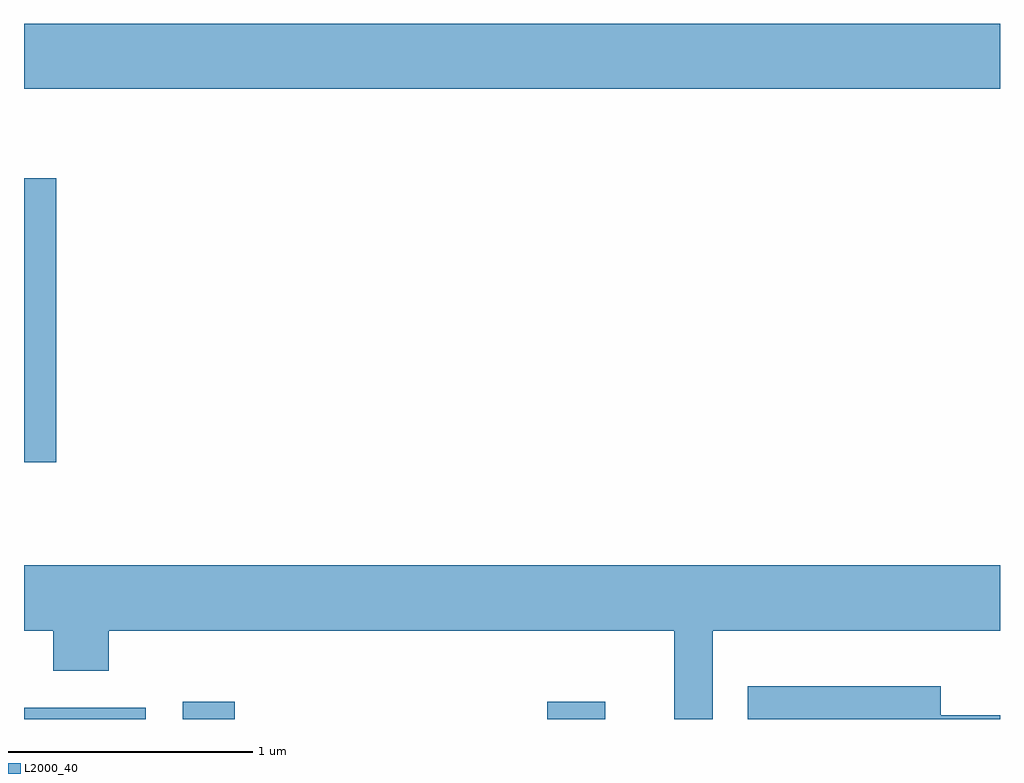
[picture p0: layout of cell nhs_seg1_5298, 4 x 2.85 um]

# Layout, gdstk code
import gdstk
lib = gdstk.Library(unit=1e-6, precision=1e-09)
def R(c, l, rs):  # rectangles x0, y0, x1, y1
    for r in rs: c.add(gdstk.rectangle(r[:2], r[2:], *l))
def P(c, l, *ps):  # polygons
    for p in ps: c.add(gdstk.Polygon(p, *l))
L2000_40 = (2000, 40)

nhs_seg1_5298 = lib.new_cell('nhs_seg1_5298')
R(nhs_seg1_5298, L2000_40, [(345.611,843.712,346.109,843.759), (346.261,843.712,346.474,843.784), (347.756,843.712,347.994,843.784), (345.611,844.766,345.744,845.929), (345.611,846.296,349.611,846.564)])
P(nhs_seg1_5298, L2000_40, [(345.611,844.076),(345.731,844.076),(345.731,843.911),(345.959,843.911),(345.959,844.076),(348.276,844.076),(348.276,843.712),(348.434,843.712),(348.434,844.076),(349.611,844.076),(349.611,844.344),(345.611,844.344)],
  [(349.611,843.729),(349.369,843.729),(349.369,843.849),(348.578,843.849),(348.578,843.712),(349.611,843.712)])

lib.write_gds('nhs_seg1_5298.gds')
